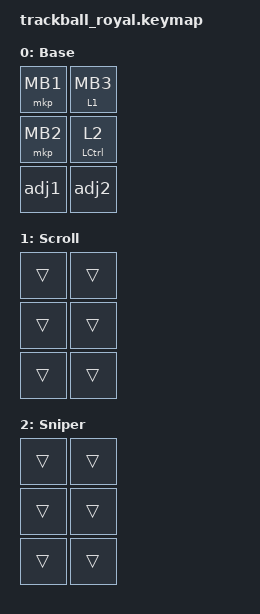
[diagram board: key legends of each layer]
#include "keys_ru.h"
#include <dt-bindings/zmk/input_transform.h>
#include <input/processors.dtsi>
#include <zephyr/dt-bindings/input/input-event-codes.h>
#include <dt-bindings/zmk/matrix_transform.h>
#include <scroll-snap.dtsi>
#include <behaviors.dtsi>
#include <dt-bindings/zmk/bt.h>
#include <dt-bindings/zmk/pointing.h>
#include "input/processors/sensor_rotation.dtsi"

/ {
    default_transform: keymap_transform_0 {
        compatible = "zmk,matrix-transform";
        columns = <2>;
        rows = <3>;
        map = <
        RC(0,3) RC(0,2)
        RC(0,0) RC(0,1)
        RC(0,5) RC(0,4)
        >;
    };

    behaviors {
        adj1: adj1 {
            compatible = "zmk,behavior-tap-dance";
            label = "ADJ1";
            #binding-cells = <0>;
            bindings = <&bt BT_SEL 0>, <&bt BT_CLR>;
        };

        adj2: adj2 {
            compatible = "zmk,behavior-tap-dance";
            label = "ADJ2";
            #binding-cells = <0>;
            bindings = <&bt BT_NXT>, <&bt BT_CLR_ALL>;
        };

        ht_scroll_mb3: ht_scroll_mb3 {
            compatible = "zmk,behavior-hold-tap";
            label = "HT_SCROLL_MB3";
            #binding-cells = <2>;
            flavor = "balanced";
            tapping-term-ms = <170>;
            bindings = <&mo>, <&mkp>;
        };

        ht_ctrl_sniper: ht_ctrl_sniper {
            compatible = "zmk,behavior-hold-tap";
            label = "HT_CTRL_SNIPER";
            #binding-cells = <2>;
            flavor = "balanced";
            tapping-term-ms = <170>;
            bindings = <&kp>, <&tog>;
        };
    };

    keymap {
        compatible = "zmk,keymap";

        base {
            bindings = <
&mkp MB1                              &ht_scroll_mb3 1 MB3
&mkp MB2                              &ht_ctrl_sniper LCTRL 2
&adj1                                 &adj2
            >;

            display-name = "Base";
        };

        scroll {
            bindings = <
&trans  &trans
&trans  &trans
&trans  &trans
            >;

            display-name = "Scroll";
        };

        sniper {
            bindings = <
&trans  &trans
&trans  &trans
&trans  &trans
            >;

            display-name = "Sniper";
        };
    };

    input_processors {
        sensor_rotation: sensor_rotation {
            compatible = "zmk,input-processor-sensor-rotation";
            status = "okay";
            #input-processor-cells = <0>;
            rotation-angle = <5>;
        };
    };
};

&trackball { cpi = <1000>; };

&trackball_listener {
    input-processors = <&zip_y_scaler 1 2>, <&zip_x_scaler 1 1>, <&sensor_rotation>;

    scroller {
        layers = <1>;
        input-processors =
            <&zip_xy_transform INPUT_TRANSFORM_Y_INVERT>,
            <&zip_xy_scaler 1 32>,
            <&zip_xy_to_scroll_mapper &zip_scroll_snap>;
    };

    sniper {
        layers = <2>;
        input-processors = <&zip_xy_scaler 1 4>;
    };

    adjust {
        layers = <3>;
        input-processors = <&zip_xy_scaler 1 8>;
    };
};
